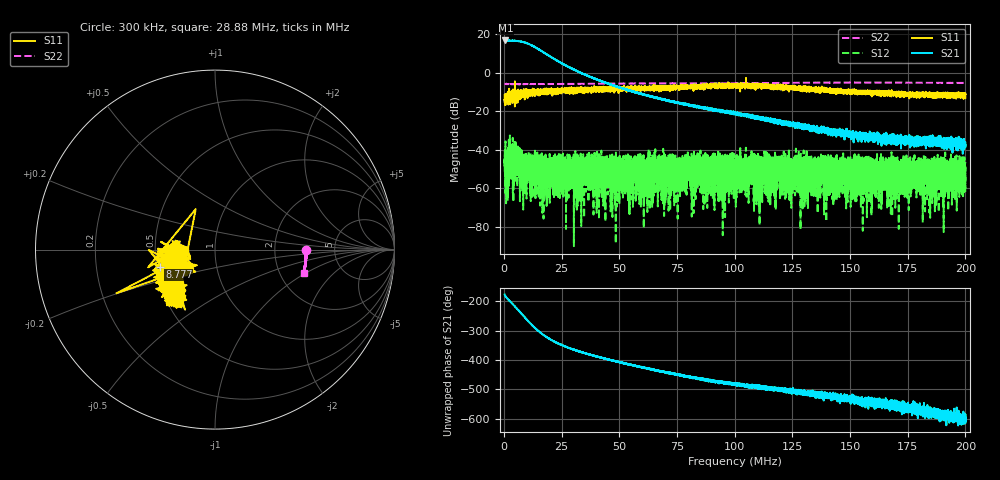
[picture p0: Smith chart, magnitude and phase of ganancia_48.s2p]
# Hz S DB R 50
! CMT, M5065, 19127446, 24.2.4/2
! Date: 11/8/2024 5:21:21 PM
! Data: Format (Calibration Info)
! Freq	S11:dB/Ang(F2)	S21:dB/Ang(F2)	S12:dB/Ang(F2)	S22:dB/Ang(F2)
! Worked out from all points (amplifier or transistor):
!   9000 points, 300 kHz to 200 MHz, reference 50 ohm
!   highest |S21| = 16.8 dB at 655.1 kHz (marker M1)
!   |S21| within 3 dB of that: start of sweep to 12.77 MHz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
!   unconditionally stable (mu >= 1): start of sweep to end of sweep
!   at 33.59 MHz: K = 355.91, MAG = 1.8 dB, |S12| = -60.8 dB
!   at 100.2 MHz: K = 1215.26, MAG = -19.0 dB, |S12| = -51.1 dB
!   at 200 MHz: K = 5168.28, MAG = -35.8 dB, |S12| = -46.4 dB
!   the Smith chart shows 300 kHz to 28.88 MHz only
!   S11 on the Smith chart (normalised r, x): 300 kHz: 0.67, -0.03; 8.777 MHz: 0.52, -0.11; 28.88 MHz: 0.56, -0.38
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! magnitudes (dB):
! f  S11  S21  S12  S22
! 300 kHz  -14.1  16.7  -44.6  -5.9
! 655.1 kHz  -16.8  16.8  -49.6  -5.9
! 5.448 MHz  -10.4  16.5  -45.7  -5.9
! 8.777 MHz  -9.8  15.7  -49.3  -5.9
! 28.88 MHz  -8.8  2.5  -49.5  -5.8
! 33.59 MHz  -8.7  -0.2  -60.8  -5.8
! 36.23 MHz  -8.4  -1.5  -49.1  -5.8
! 43.26 MHz  -8.3  -4.8  -47.2  -5.7
! 49.99 MHz  -7.3  -7.5  -51.1  -5.6
! 54.91 MHz  -7.9  -9.3  -56.0  -5.6
! 66.87 MHz  -7.9  -13.3  -46.6  -5.5
! 89.04 MHz  -6.8  -18.6  -60.3  -5.5
! 91.42 MHz  -7.0  -19.1  -49.9  -5.4
! 95.75 MHz  -6.8  -20.3  -54.6  -5.4
! 100.2 MHz  -7.0  -21.5  -51.1  -5.4
! 133.4 MHz  -8.9  -29.9  -51.8  -5.2
! 166.7 MHz  -10.7  -35.5  -48.8  -5.1
! 182.8 MHz  -10.9  -34.9  -51.5  -5.2
! 191.1 MHz  -11.9  -34.8  -50.0  -5.3
! 194.1 MHz  -12.6  -35.5  -47.6  -5.3
! 199 MHz  -12.1  -37.5  -46.1  -5.3
! 200 MHz  -10.9  -37.7  -46.4  -5.3
